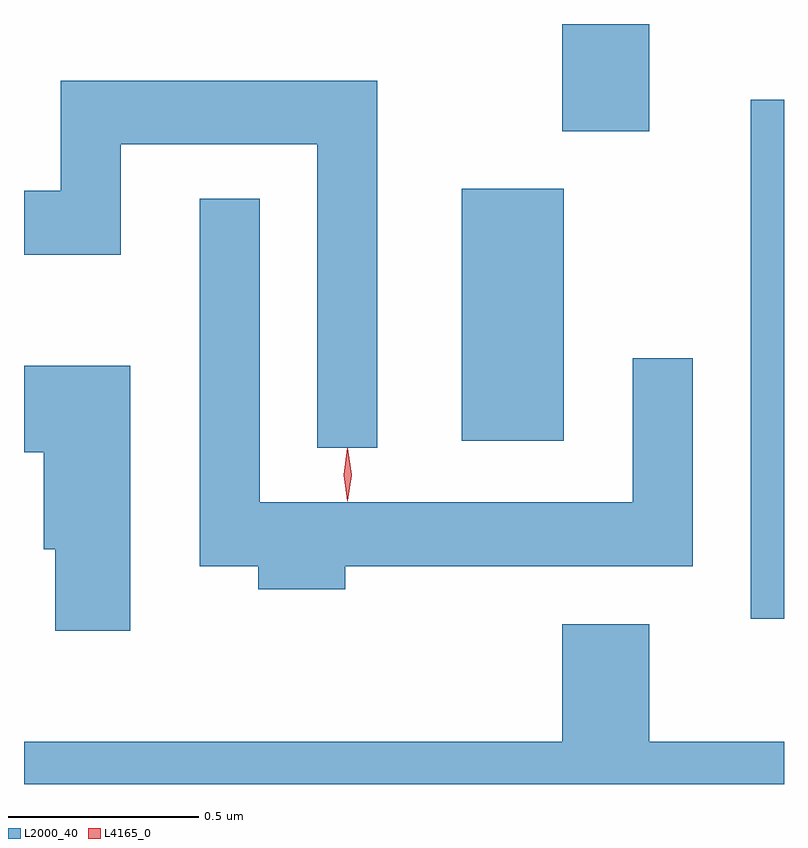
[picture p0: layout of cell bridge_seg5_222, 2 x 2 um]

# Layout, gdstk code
import gdstk
lib = gdstk.Library(unit=1e-6, precision=1e-09)
def R(c, l, rs):  # rectangles x0, y0, x1, y1
    for r in rs: c.add(gdstk.rectangle(r[:2], r[2:], *l))
def P(c, l, *ps):  # polygons
    for p in ps: c.add(gdstk.Polygon(p, *l))
L2000_40 = (2000, 40)
L4165_0 = (4165, 0)

bridge_seg5_222 = lib.new_cell('bridge_seg5_222')
R(bridge_seg5_222, L2000_40, [(1291.236,1428.528,1291.324,1429.894), (1290.476,1428.996,1290.744,1429.659), (1290.741,1429.811,1290.969,1430.093)])
P(bridge_seg5_222, L2000_40, [(1290.254,1429.944),(1289.421,1429.944),(1289.421,1429.654),(1289.324,1429.654),(1289.324,1429.486),(1289.579,1429.486),(1289.579,1429.776),(1290.096,1429.776),(1290.096,1428.978),(1290.254,1428.978)],
  [(1290.169,1428.666),(1291.084,1428.666),(1291.084,1429.213),(1290.926,1429.213),(1290.926,1428.834),(1289.944,1428.834),(1289.944,1429.633),(1289.786,1429.633),(1289.786,1428.666),(1289.941,1428.666),(1289.941,1428.606),(1290.169,1428.606)],
  [(1289.604,1429.194),(1289.324,1429.194),(1289.324,1428.966),(1289.376,1428.966),(1289.376,1428.711),(1289.406,1428.711),(1289.406,1428.496),(1289.604,1428.496)],
  [(1291.324,1428.204),(1290.969,1428.204),(1290.969,1428.514),(1290.741,1428.514),(1290.741,1428.204),(1289.324,1428.204),(1289.324,1428.093),(1291.324,1428.093)])
P(bridge_seg5_222, L4165_0, [(1290.176,1428.837),(1290.175,1428.838),(1290.166,1428.907),(1290.175,1428.976),(1290.176,1428.976),(1290.176,1428.976),(1290.186,1428.907),(1290.176,1428.838)],
  [(1290.176,1428.839),(1290.175,1428.84),(1290.166,1428.906),(1290.175,1428.972),(1290.176,1428.973),(1290.176,1428.972),(1290.186,1428.906),(1290.176,1428.84)])

lib.write_gds('bridge_seg5_222.gds')
